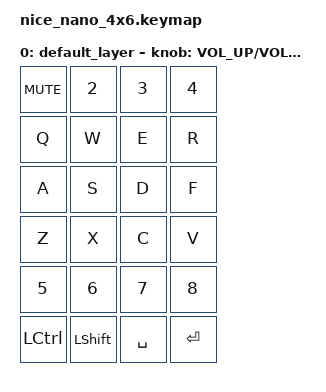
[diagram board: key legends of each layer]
#include <behaviors.dtsi>
#include <dt-bindings/zmk/keys.h>

/ {
    combos {
        compatible = "zmk,combos";

        combo_studio_unlock {
            timeout-ms = <300>;
            key-positions = <0 20>;
            bindings = <&studio_unlock>;
        };
    };

    keymap {
        compatible = "zmk,keymap";

        default_layer {
            bindings = <
                &kp C_MUTE       &kp N2    &kp N3    &kp N4
                &kp Q            &kp W     &kp E     &kp R
                &kp A            &kp S     &kp D     &kp F
                &kp Z            &kp X     &kp C     &kp V
                &kp N5           &kp N6    &kp N7    &kp N8
                &kp LCTRL        &kp LSHFT &kp SPACE &kp RET
            >;
            sensor-bindings = <&inc_dec_kp C_VOL_UP C_VOL_DN>;
        };
    };
};
